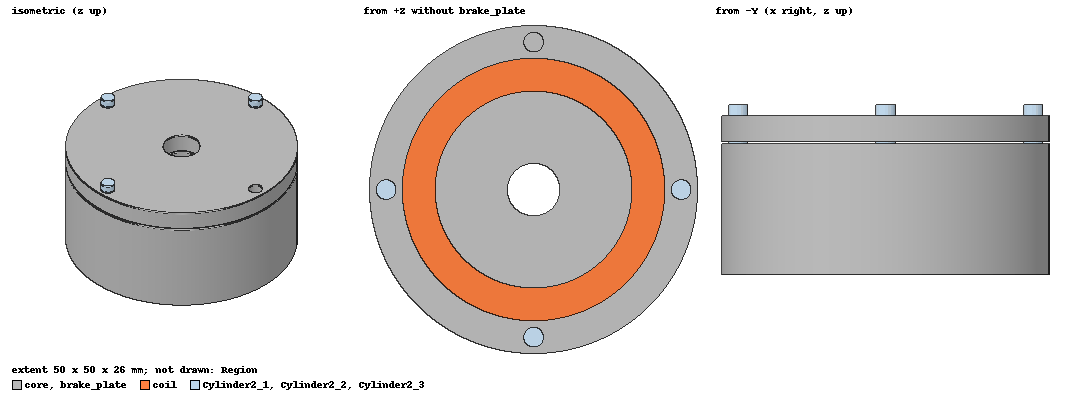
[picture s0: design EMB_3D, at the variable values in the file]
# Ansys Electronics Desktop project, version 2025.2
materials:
  vacuum: permittivity=1
  steel_1008: permeability{HUnit=A_per_meter BUnit=tesla curve (0, 0) (159.2, 0.2402) (318.3, 0.8654) (477.5, 1.1106) (636.6, 1.2458) (795.8, 1.331) (1591.5, 1.5) (3183.1, 1.6) (4774.6, 1.683) (6366.2, 1.741) (7957.7, 1.78) (15915.5, 1.905) (31831, 2.025) (47746.5, 2.085) (63662, 2.13) (79577.5, 2.165) (159155, 2.28) (318310, 2.485) (397887, 2.5851)} conductivity=2000000
  copper: permeability=0.999991 conductivity=58000000

design EMB_3D (Maxwell 3D, Magnetostatic, model units mm)
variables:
  gap = 0.3mm
  Amp = 1A
  Turns = 200
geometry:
  core [steel_1008] = cylinder(axis=Z, base_centre=(0mm, 0mm, 0mm), radius=25mm, height=20mm)
  coil [copper] = circle(normal=Z, centre=(0mm, 0mm, 20mm), radius=20mm)
  Circle2 = circle(normal=Z, centre=(0mm, 0mm, 20mm), radius=15mm)
  coil.subtract(Circle2)
  coil.thicken(-15mm)
  Circle1_1 = coil.copy()
  core.subtract(Circle1_1)
  Cylinder1 = cylinder(axis=Z, base_centre=(0mm, 0mm, 0mm), radius=4mm, height=20mm)
  core.subtract(Cylinder1)
  brake_plate [steel_1008] = object_from(core.face(-z end))
  brake_plate.thicken(4mm)
  brake_plate.move(0mm, 0mm, 24mm+gap)
  Cylinder2 = cylinder(axis=Z, base_centre=(0mm, 22.5mm, 26mm), radius=1.5mm, height=-15mm)
  Cylinder2_1, Cylinder2_2, Cylinder2_3 [vacuum] = Cylinder2.duplicate_around_axis(axis=Z, angle=90deg, total=4)
  Cylinder2.duplicate_around_axis(axis=Z, angle=90deg, total=4, attached)
  Cylinder2_4 = Cylinder2.copy()
  brake_plate.subtract(Cylinder2_4)
  core.subtract(Cylinder2)
  coil_Section1 [copper] = coil.section(plane=ZX)
  coil_Section1.separate_bodies()
  Region [vacuum] = region(percentage_offset=100 on all sides)
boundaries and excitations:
  Insulating1: Insulating Objects=coil
  Current1: Current Objects=coil_Section1 Current=Amp*Turns IsSolid=false Point_out_of_terminal=false
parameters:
  Force1: Force Reference_CS=Global Is_Virtual=true Objects=brake_plate
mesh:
  initial mesh: GlobalSurfApproximation{CurvedSurfaceApproxChoice=UseSlider SliderMeshSettings=2} GlobalCurvilinear{Apply}
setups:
  Setup1: Magnetostatic MaximumPasses=10 MinimumPasses=2 MinimumConvergedPasses=1 PercentRefinement=30 PercentError=1 NonLinearResidual=0.001
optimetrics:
  ParametricSetup1: Parametric Sim._Setups=[Setup1]
    sweep gap: LIN 0.2mm 1mm 0.1mm
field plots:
  Mag_B1: B over a plane on Setup1 : LastAdaptive
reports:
  Force Plot1: Force_mag vs gap on Setup1 : LastAdaptive
